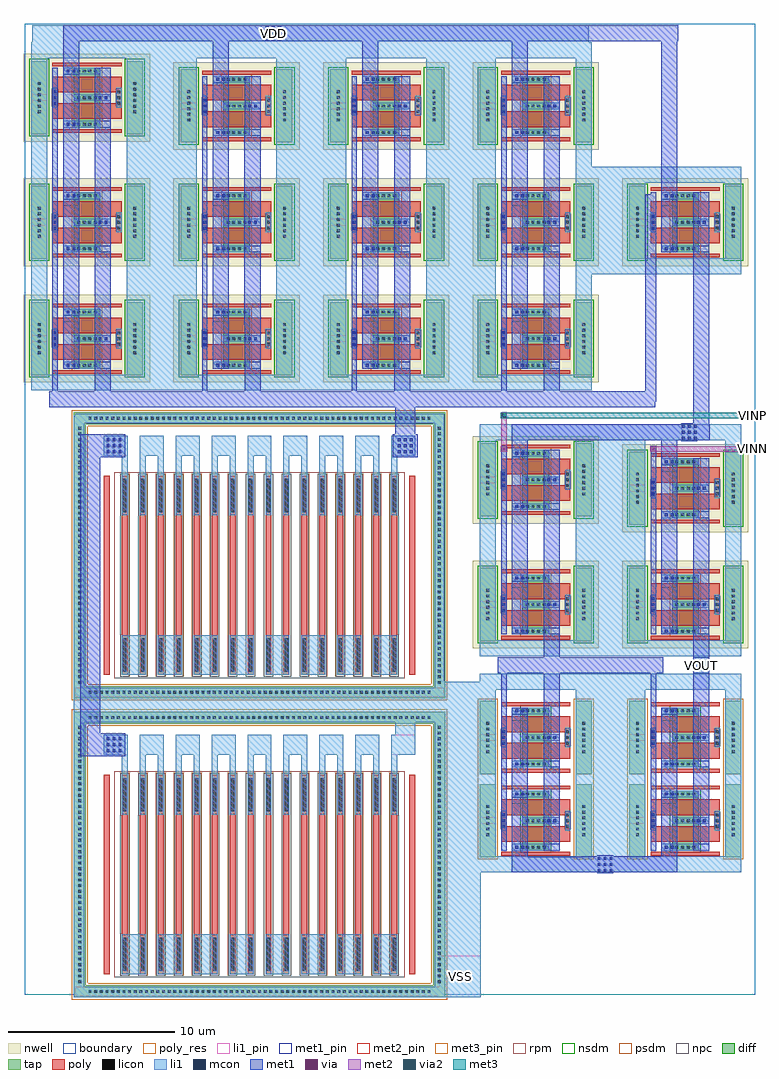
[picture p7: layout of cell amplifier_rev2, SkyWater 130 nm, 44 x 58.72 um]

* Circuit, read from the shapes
.subckt amplifier_rev2 VDD VINN VINP VOUT VSS
XM1 JNWATR_NCH_4C5F0_0/D JNWATR_NCH_4C5F0_0/D VSS VSS sky130_fd_pr__nfet_01v8 w=1.6 l=0.94 m=4
XM2 VOUT JNWATR_NCH_4C5F0_0/D VSS VSS sky130_fd_pr__nfet_01v8 w=1.6 l=0.94 m=4
XM3 JNWATR_PCH_4C5F0_10/D JNWATR_PCH_4C5F0_10/D VDD VDD sky130_fd_pr__pfet_01v8 w=1.6 l=0.94 m=24
XM4 JNWATR_NCH_4C5F0_0/D VINP JNWATR_PCH_4C5F0_13/B JNWATR_PCH_4C5F0_13/B sky130_fd_pr__pfet_01v8 w=1.6 l=0.94 m=4
XM5 VOUT VINN JNWATR_PCH_4C5F0_13/B JNWATR_PCH_4C5F0_13/B sky130_fd_pr__pfet_01v8 w=1.6 l=0.94 m=4
XM6 JNWATR_PCH_4C5F0_13/B JNWATR_PCH_4C5F0_10/D VDD VDD sky130_fd_pr__pfet_01v8 w=1.6 l=0.94 m=2
XR7 JNWTR_RPPO16_14/N n1 VSS sky130_fd_pr__res_high_po w=0.36 l=7.24
XR8 JNWTR_RPPO16_14/N n2 VSS sky130_fd_pr__res_high_po w=0.36 l=7.24
XR9 n3 n1 VSS sky130_fd_pr__res_high_po w=0.36 l=7.24
XR10 n4 n2 VSS sky130_fd_pr__res_high_po w=0.36 l=7.24
XR11 n3 n5 VSS sky130_fd_pr__res_high_po w=0.36 l=7.24
XR12 n4 n6 VSS sky130_fd_pr__res_high_po w=0.36 l=7.24
XR13 n7 n5 VSS sky130_fd_pr__res_high_po w=0.36 l=7.24
XR14 n8 n6 VSS sky130_fd_pr__res_high_po w=0.36 l=7.24
XR15 n7 n9 VSS sky130_fd_pr__res_high_po w=0.36 l=7.24
XR16 n8 n10 VSS sky130_fd_pr__res_high_po w=0.36 l=7.24
XR17 n11 n9 VSS sky130_fd_pr__res_high_po w=0.36 l=7.24
XR18 n12 n10 VSS sky130_fd_pr__res_high_po w=0.36 l=7.24
XR19 n11 n13 VSS sky130_fd_pr__res_high_po w=0.36 l=7.24
XR20 n12 n14 VSS sky130_fd_pr__res_high_po w=0.36 l=7.24
XR21 n15 n13 VSS sky130_fd_pr__res_high_po w=0.36 l=7.24
XR22 n16 n14 VSS sky130_fd_pr__res_high_po w=0.36 l=7.24
XR23 n15 n17 VSS sky130_fd_pr__res_high_po w=0.36 l=7.24
XR24 n16 n18 VSS sky130_fd_pr__res_high_po w=0.36 l=7.24
XR25 n19 n17 VSS sky130_fd_pr__res_high_po w=0.36 l=7.24
XR26 n20 n18 VSS sky130_fd_pr__res_high_po w=0.36 l=7.24
XR27 n19 n21 VSS sky130_fd_pr__res_high_po w=0.36 l=7.24
XR28 n20 n22 VSS sky130_fd_pr__res_high_po w=0.36 l=7.24
XR29 n23 n21 VSS sky130_fd_pr__res_high_po w=0.36 l=7.24
XR30 n24 n22 VSS sky130_fd_pr__res_high_po w=0.36 l=7.24
XR31 n23 n25 VSS sky130_fd_pr__res_high_po w=0.36 l=7.24
XR32 n24 n26 VSS sky130_fd_pr__res_high_po w=0.36 l=7.24
XR33 n27 n25 VSS sky130_fd_pr__res_high_po w=0.36 l=7.24
XR34 n28 n26 VSS sky130_fd_pr__res_high_po w=0.36 l=7.24
XR35 n27 n29 VSS sky130_fd_pr__res_high_po w=0.36 l=7.24
XR36 n28 n30 VSS sky130_fd_pr__res_high_po w=0.36 l=7.24
XR37 VSS n29 VSS sky130_fd_pr__res_high_po w=0.36 l=7.24
XR38 JNWATR_PCH_4C5F0_10/D n30 VSS sky130_fd_pr__res_high_po w=0.36 l=7.24
.ends

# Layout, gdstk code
from math import pi, radians
import gdstk
lib = gdstk.Library(unit=1e-6, precision=1e-09)
def R(c, l, rs):  # rectangles x0, y0, x1, y1
    for r in rs: c.add(gdstk.rectangle(r[:2], r[2:], *l))
def A(c, l, x, y, w, h, nx, ny, dx, dy):  # array of equal rectangles
    R(c, l, [(x+i*dx, y+j*dy, x+i*dx+w, y+j*dy+h) for i in range(nx) for j in range(ny)])
nwell = (64, 20)
diff = (65, 20)
tap = (65, 44)
poly_res = (66, 13)
poly = (66, 20)
licon = (66, 44)
li1_pin = (67, 16)
li1 = (67, 20)
mcon = (67, 44)
met1_pin = (68, 16)
met1 = (68, 20)
via = (68, 44)
met2_pin = (69, 16)
met2 = (69, 20)
via2 = (69, 44)
met3_pin = (70, 16)
met3 = (70, 20)
rpm = (86, 20)
nsdm = (93, 44)
psdm = (94, 20)
npc = (95, 20)
boundary = (235, 4)

jnwatr_nch_4c5f0 = lib.new_cell('JNWATR_NCH_4C5F0')
R(jnwatr_nch_4c5f0, diff, [(2.08,0.2,3.68,3.8)])
R(jnwatr_nch_4c5f0, tap, [(-0.48,-0.2,0.48,4.2), (5.28,-0.2,6.24,4.2)])
R(jnwatr_nch_4c5f0, poly, [(0.8,-0.11,4.96,0.11), (0.8,0.73,4.96,1.67), (0.8,1.67,1.12,2.33), (4.64,1.67,4.96,2.33), (0.8,2.33,4.96,3.27), (0.8,3.89,4.96,4.11)])
A(jnwatr_nch_4c5f0, licon, 2.285, 0.315, 0.17, 0.17, 4, 3, 0.34, 1.6)
A(jnwatr_nch_4c5f0, licon, -0.085, 1.065, 0.17, 0.17, 1, 6, 0, 0.34)
A(jnwatr_nch_4c5f0, licon, 5.675, 1.065, 0.17, 0.17, 1, 6, 0, 0.34)
A(jnwatr_nch_4c5f0, licon, 0.87, 1.575, 0.17, 0.17, 1, 3, 0, 0.34)
A(jnwatr_nch_4c5f0, licon, 4.71, 1.575, 0.17, 0.17, 1, 3, 0, 0.34)
R(jnwatr_nch_4c5f0, li1_pin, [(-0.48,1.8,0.48,2.2)])
R(jnwatr_nch_4c5f0, li1, [(-0.48,-0.2,0.48,4.2), (5.28,-0.2,6.24,4.2), (1.44,0.2,3.68,0.6), (0.8,1.4,1.12,2.6), (4.64,1.4,4.96,2.6), (2.08,1.8,4.32,2.2), (1.44,3.4,3.68,3.8)])
A(jnwatr_nch_4c5f0, mcon, 0.87, 1.555, 0.17, 0.17, 1, 3, 0, 0.36)
R(jnwatr_nch_4c5f0, mcon, [(1.655,0.315,1.825,0.485), (2.015,0.315,2.185,0.485), (3.575,1.915,3.745,2.085), (3.935,1.915,4.105,2.085), (1.655,3.515,1.825,3.685), (2.015,3.515,2.185,3.685)])
R(jnwatr_nch_4c5f0, met1_pin, [(3.36,0.2,4.32,0.6), (0.8,1.8,1.12,2.2), (1.44,3,2.4,3.4)])
R(jnwatr_nch_4c5f0, met1, [(0.8,0.2,1.12,3.8), (1.44,0.2,2.4,3.8), (3.36,0.2,4.32,3.8)])
R(jnwatr_nch_4c5f0, nsdm, [(1.955,0.075,3.805,3.925)])
R(jnwatr_nch_4c5f0, psdm, [(-0.605,-0.325,0.605,4.325), (5.155,-0.325,6.365,4.325)])
R(jnwatr_nch_4c5f0, npc, [(0.77,1.475,1.14,2.525), (4.61,1.475,4.98,2.525)])
R(jnwatr_nch_4c5f0, boundary, [(0,0,5.76,4)])
jnwatr_nch_4c5f0.add(gdstk.Label('B', (0,2), layer=67, texttype=5))
jnwatr_nch_4c5f0.add(gdstk.Label('G', (0.96,2), layer=68, texttype=5))
jnwatr_nch_4c5f0.add(gdstk.Label('S', (1.92,3.2), layer=68, texttype=5))
jnwatr_nch_4c5f0.add(gdstk.Label('D', (3.84,0.4), layer=68, texttype=5))

jnwatr_pch_4c5f0 = lib.new_cell('JNWATR_PCH_4C5F0')
R(jnwatr_pch_4c5f0, nwell, [(-0.92,-0.64,6.68,4.64)])
R(jnwatr_pch_4c5f0, diff, [(2.08,0.2,3.68,3.8)])
R(jnwatr_pch_4c5f0, tap, [(-0.48,-0.2,0.48,4.2), (5.28,-0.2,6.24,4.2)])
R(jnwatr_pch_4c5f0, poly, [(0.8,-0.11,4.96,0.11), (0.8,0.73,4.96,1.67), (0.8,1.67,1.12,2.33), (4.64,1.67,4.96,2.33), (0.8,2.33,4.96,3.27), (0.8,3.89,4.96,4.11)])
A(jnwatr_pch_4c5f0, licon, 2.285, 0.315, 0.17, 0.17, 4, 3, 0.34, 1.6)
A(jnwatr_pch_4c5f0, licon, -0.085, 1.065, 0.17, 0.17, 1, 6, 0, 0.34)
A(jnwatr_pch_4c5f0, licon, 5.675, 1.065, 0.17, 0.17, 1, 6, 0, 0.34)
A(jnwatr_pch_4c5f0, licon, 0.87, 1.575, 0.17, 0.17, 1, 3, 0, 0.34)
A(jnwatr_pch_4c5f0, licon, 4.71, 1.575, 0.17, 0.17, 1, 3, 0, 0.34)
R(jnwatr_pch_4c5f0, li1_pin, [(-0.48,1.8,0.48,2.2)])
R(jnwatr_pch_4c5f0, li1, [(-0.48,-0.2,0.48,4.2), (5.28,-0.2,6.24,4.2), (1.44,0.2,3.68,0.6), (0.8,1.4,1.12,2.6), (4.64,1.4,4.96,2.6), (2.08,1.8,4.32,2.2), (1.44,3.4,3.68,3.8)])
A(jnwatr_pch_4c5f0, mcon, 0.87, 1.555, 0.17, 0.17, 1, 3, 0, 0.36)
R(jnwatr_pch_4c5f0, mcon, [(1.655,0.315,1.825,0.485), (2.015,0.315,2.185,0.485), (3.575,1.915,3.745,2.085), (3.935,1.915,4.105,2.085), (1.655,3.515,1.825,3.685), (2.015,3.515,2.185,3.685)])
R(jnwatr_pch_4c5f0, met1_pin, [(3.36,0.2,4.32,0.6), (0.8,1.8,1.12,2.2), (1.44,3,2.4,3.4)])
R(jnwatr_pch_4c5f0, met1, [(0.8,0.2,1.12,3.8), (1.44,0.2,2.4,3.8), (3.36,0.2,4.32,3.8)])
R(jnwatr_pch_4c5f0, nsdm, [(-0.605,-0.325,0.605,4.325), (5.155,-0.325,6.365,4.325)])
R(jnwatr_pch_4c5f0, psdm, [(1.955,0.075,3.805,3.925)])
R(jnwatr_pch_4c5f0, npc, [(0.77,1.475,1.14,2.525), (4.61,1.475,4.98,2.525)])
R(jnwatr_pch_4c5f0, boundary, [(0,0,5.76,4)])
jnwatr_pch_4c5f0.add(gdstk.Label('B', (0,2), layer=67, texttype=5))
jnwatr_pch_4c5f0.add(gdstk.Label('G', (0.96,2), layer=68, texttype=5))
jnwatr_pch_4c5f0.add(gdstk.Label('S', (1.92,3.2), layer=68, texttype=5))
jnwatr_pch_4c5f0.add(gdstk.Label('D', (3.84,0.4), layer=68, texttype=5))

jnwtr_res16 = lib.new_cell('JNWTR_RES16')
A(jnwtr_res16, poly_res, 0.9, 1.72, 0.36, 7.36, 16, 1, 1.08, 0)
A(jnwtr_res16, poly, -0.18, -0.6, 0.36, 12, 18, 1, 1.08, 0)
A(jnwtr_res16, licon, 0.985, -0.4, 0.19, 2, 16, 2, 1.08, 9.6)
R(jnwtr_res16, li1_pin, [(-0.18,12.6,1.26,13.8), (17.1,12.6,18.54,13.8)])
A(jnwtr_res16, li1, 0.9, -0.6, 1.44, 2.4, 8, 1, 2.16, 0)
A(jnwtr_res16, li1, 0.9, 9, 0.36, 3.6, 16, 1, 1.08, 0)
A(jnwtr_res16, li1, -0.18, 12.6, 1.44, 1.2, 9, 1, 2.16, 0)
R(jnwtr_res16, rpm, [(0.445,-0.8,17.915,11.6)])
A(jnwtr_res16, psdm, 0.79, -0.71, 0.58, 12.22, 16, 1, 1.08, 0)
A(jnwtr_res16, npc, 0.805, -0.695, 0.55, 12.19, 16, 1, 1.08, 0)
R(jnwtr_res16, boundary, [(0,0,18.36,13.2)])
jnwtr_res16.add(gdstk.Label('P', (17.82,13.2), layer=67, texttype=5))
jnwtr_res16.add(gdstk.Label('N', (0.54,13.2), layer=67, texttype=5))

jnwtr_rppo16 = lib.new_cell('JNWTR_RPPO16')
R(jnwtr_rppo16, tap, [(0,0,22.36,0.72), (0,0.72,0.72,16.48), (21.64,0.72,22.36,16.48), (0,16.48,22.36,17.2)])
A(jnwtr_rppo16, licon, 0.895, 0.275, 0.17, 0.17, 61, 2, 0.34, 16.48)
A(jnwtr_rppo16, licon, 0.275, 0.865, 0.17, 0.17, 1, 46, 0, 0.34)
A(jnwtr_rppo16, licon, 21.915, 0.865, 0.17, 0.17, 1, 46, 0, 0.34)
R(jnwtr_rppo16, li1_pin, [(0.08,0.08,22.28,0.64), (1.82,14.6,3.26,15.8), (19.1,14.6,20.54,15.8)])
R(jnwtr_rppo16, li1, [(0.08,0.08,22.28,0.64), (0.08,0.64,0.64,16.56), (21.72,0.64,22.28,16.56), (1.82,14.6,3.26,15.8), (19.1,14.6,20.54,15.8), (0.08,16.56,22.28,17.12)])
R(jnwtr_rppo16, psdm, [(-0.125,-0.125,22.485,0.845), (-0.125,0.845,0.845,16.355), (21.515,0.845,22.485,16.355), (-0.125,16.355,22.485,17.325)])
R(jnwtr_rppo16, boundary, [(0,0,22.36,17.2)])
jnwtr_rppo16.add(gdstk.Reference(jnwtr_res16, (2,2)))
jnwtr_rppo16.add(gdstk.Label('B', (11.18,0.36), layer=67, texttype=5))
jnwtr_rppo16.add(gdstk.Label('N', (2.54,15.2), layer=67, texttype=5))
jnwtr_rppo16.add(gdstk.Label('P', (19.82,15.2), layer=67, texttype=5))

amplifier_rev2 = lib.new_cell('amplifier_rev2')
R(amplifier_rev2, li1_pin, [(17,-17,19.5,-14.5)])
A(amplifier_rev2, li1, -1, 20.48, 3, 3.04, 3, 1, 9, 0)
A(amplifier_rev2, li1, -1.8, 23.52, 4.2, 11.96, 3, 1, 9, 0)
A(amplifier_rev2, li1, -1, 35.48, 3, 2.16, 3, 1, 9, 0)
A(amplifier_rev2, li1, -1.8, 37.64, 4.2, 1.88, 3, 1, 9, 0)
R(amplifier_rev2, li1, [(-5,-17,19.5,-16.5), (-5,-16.5,-4.5,0), (17,-16.5,19.5,-9.48), (17,-9.48,35.16,-8.52), (17,-8.52,20.4,-7.52), (26,-8.52,29,-5.48), (34.2,-8.52,35.16,-7.52), (17,-7.52,20,-5.48), (17,-5.48,20.4,-2.52), (25.2,-5.48,29.4,-2.52), (34.2,-5.48,35.16,-2.52), (17,-2.52,20,-0.36), (26,-2.52,29,-0.36), (-3.18,-2.4,-1.98,-1.2), (14.34,-2.4,15.54,-0.4), (17,-0.36,20.4,0), (25.2,-0.36,29.4,1.52), (34.2,-0.36,35.16,1.52), (-5,0,20.4,1.5), (-5,1.5,-4.5,18), (17,1.5,20.4,1.52), (17,1.52,35.16,2), (19.44,2,35.16,2.48), (19.44,3.52,35.16,4.48), (19.44,4.48,20.4,5.48), (26,4.48,29,7.52), (34.2,4.48,35.16,5.48), (19.44,7.52,20.4,12.48), (25.2,7.52,29,7.64), (25.2,7.64,29.4,12.48), (34.2,7.64,35.16,12.48), (26,12.48,29,14.64), (19.44,14.64,20.4,16.52), (25.2,14.64,29.4,16.52), (34.2,14.64,35.16,16.52), (-3.18,15.6,-1.98,16.8), (14.34,15.6,15.54,16.8), (19.44,16.52,35.16,17.48), (-7.56,19.52,26.16,20.48), (-7.56,20.48,-6.6,21.48), (25.2,20.48,26.16,21.48), (-7.56,23.52,-6.6,35.48), (25.2,23.52,26.16,26.52), (25.2,26.52,35.16,27.48), (25.2,27.48,29,30.64), (34.2,27.48,35.16,28.48), (25.2,30.64,29.4,32.02), (34.2,30.64,35.16,32.02), (25.2,32.02,35.16,32.98), (25.2,32.98,26.16,35.48), (-7.56,37.64,-6.6,39.52), (25.2,37.64,26.16,39.52), (-7.56,39.52,26.16,40.48), (-7.5,40.48,26,41.5)])
A(amplifier_rev2, mcon, 26.525, -9.445, 0.17, 0.17, 3, 3, 0.36, 0.36)
A(amplifier_rev2, mcon, -3.025, -2.245, 0.17, 0.17, 3, 3, 0.36, 0.36)
A(amplifier_rev2, mcon, -3.025, 15.755, 0.17, 0.17, 3, 3, 0.36, 0.36)
A(amplifier_rev2, mcon, 14.495, 15.755, 0.17, 0.17, 3, 3, 0.36, 0.36)
A(amplifier_rev2, mcon, 31.585, 16.555, 0.17, 0.17, 3, 3, 0.36, 0.36)
A(amplifier_rev2, mcon, 6.555, 40.555, 0.17, 0.17, 3, 3, 0.36, 0.36)
R(amplifier_rev2, met1_pin, [(32.28,2.5,33.24,3.46), (6.52,40.52,7.48,41.48)])
A(amplifier_rev2, met1, 2.72, 19.48, 0.32, 18.68, 3, 1, 9, 0)
A(amplifier_rev2, met1, -5.64, 22.52, 0.96, 13.96, 4, 1, 9, 0)
A(amplifier_rev2, met1, -5.64, 36.52, 0.96, 4, 4, 1, 9, 0)
R(amplifier_rev2, met1, [(26.49,-9.54,27.45,-9.48), (21.36,-9.48,22.32,-9.47), (25.58,-9.48,31.32,-9.47), (21.36,-9.47,31.32,-8.53), (21.36,-8.53,22.32,-6.52), (25.58,-8.53,31.32,-8.52), (26.49,-8.52,27.45,-8.46), (30.36,-8.52,31.32,-6.52), (21.36,-6.48,22.32,-1.52), (30.36,-5.88,31.32,-1.52), (32.28,-5.52,33.24,-2.52), (23.28,-5.48,24.24,-1.52), (20.72,-5.16,21.04,-2.84), (29.72,-5.16,30.04,-2.84), (-4.6,-2.5,-1.9,-1.1), (23.28,-1.48,24.24,2.52), (-4.6,-1.1,-3.4,15.5), (32.28,-0.48,33.24,6.48), (20.72,-0.16,21.04,2.52), (29.72,-0.16,30.04,2.52), (20.52,2.52,30.48,3.48), (23.28,3.48,24.24,6.48), (21.36,6.52,22.32,13.48), (30.36,6.52,31.32,13.48), (32.28,6.52,33.24,13.48), (29.72,6.84,30.04,16.19), (23.28,7.48,24.24,12.48), (20.72,7.84,21.04,16.19), (21.36,13.52,22.32,16.52), (30.36,13.52,31.32,16.52), (-4.6,15.5,-1.9,16.9), (14.2,15.5,15.7,16.9), (31.55,16.46,32.51,16.52), (21.36,16.52,33.28,17.48), (14.34,16.9,15.54,18.52), (31.55,17.48,33.24,17.54), (32.28,17.54,33.24,29.48), (-6.48,18.52,29.98,18.84), (-6.48,18.84,30.04,19.48), (-6.28,19.48,-5.96,21.16), (-3.72,19.48,-2.76,21.8), (5.28,19.48,6.24,22.48), (14.28,19.48,15.24,22.48), (23.28,19.48,24.24,21.8), (29.4,19.48,30.04,31.32), (14.28,22.8,15.24,35.48), (5.27,23.47,6.25,35.49), (-3.72,23.48,-2.76,35.48), (23.28,23.48,24.24,35.48), (-6.28,23.84,-5.96,36.16), (30.36,29.52,31.32,40.52), (-5.64,40.52,31.36,41.48)])
R(amplifier_rev2, via, [(20.805,15.925,20.955,16.075), (29.805,15.925,29.955,16.075)])
R(amplifier_rev2, met2_pin, [(35.68,15.84,36,16.16)])
R(amplifier_rev2, met2, [(20.69,15.84,21.07,16.16), (29.69,15.84,36,16.16), (20.72,16.16,21.04,18.205)])
R(amplifier_rev2, via2, [(20.78,17.92,20.98,18.12)])
R(amplifier_rev2, met3_pin, [(35.67,17.86,35.99,18.18)])
R(amplifier_rev2, met3, [(20.695,17.855,21.065,17.86), (20.695,17.86,35.99,18.18), (20.695,18.18,21.065,18.185)])
R(amplifier_rev2, psdm, [(19.315,-4.035,20.525,-3.685), (25.075,-4.035,26.285,-3.685), (28.315,-4.035,29.525,-3.685), (34.075,-4.035,35.285,-3.685)])
R(amplifier_rev2, boundary, [(-7.95,-16.85,36,41.6)])
amplifier_rev2.add(gdstk.Reference(jnwatr_nch_4c5f0, (19.92,-8.36)))
amplifier_rev2.add(gdstk.Reference(jnwatr_nch_4c5f0, (28.92,-8.36)))
amplifier_rev2.add(gdstk.Reference(jnwatr_pch_4c5f0, (10.92,20.64)))
amplifier_rev2.add(gdstk.Reference(jnwatr_nch_4c5f0, (28.92,-3.36)))
amplifier_rev2.add(gdstk.Reference(jnwatr_nch_4c5f0, (19.92,-3.36)))
amplifier_rev2.add(gdstk.Reference(jnwatr_pch_4c5f0, (1.92,34.64)))
amplifier_rev2.add(gdstk.Reference(jnwatr_pch_4c5f0, (19.92,27.64)))
amplifier_rev2.add(gdstk.Reference(jnwatr_pch_4c5f0, (10.92,27.64)))
amplifier_rev2.add(gdstk.Reference(jnwtr_rppo16, (17.36,-17), rotation=pi, x_reflection=True))
amplifier_rev2.add(gdstk.Reference(jnwatr_pch_4c5f0, (28.92,4.64)))
amplifier_rev2.add(gdstk.Reference(jnwatr_pch_4c5f0, (-7.08,20.64)))
amplifier_rev2.add(gdstk.Reference(jnwatr_pch_4c5f0, (28.92,27.64)))
amplifier_rev2.add(gdstk.Reference(jnwatr_pch_4c5f0, (-7.08,27.64)))
amplifier_rev2.add(gdstk.Reference(jnwatr_pch_4c5f0, (28.92,11.64)))
amplifier_rev2.add(gdstk.Reference(jnwtr_rppo16, (-5,1)))
amplifier_rev2.add(gdstk.Reference(jnwatr_pch_4c5f0, (19.92,12.14)))
amplifier_rev2.add(gdstk.Reference(jnwatr_pch_4c5f0, (-7.08,35.14)))
amplifier_rev2.add(gdstk.Reference(jnwatr_pch_4c5f0, (1.92,20.64)))
amplifier_rev2.add(gdstk.Reference(jnwatr_pch_4c5f0, (19.92,4.64)))
amplifier_rev2.add(gdstk.Reference(jnwatr_pch_4c5f0, (1.92,27.64)))
amplifier_rev2.add(gdstk.Reference(jnwatr_pch_4c5f0, (19.92,34.64)))
amplifier_rev2.add(gdstk.Reference(jnwatr_pch_4c5f0, (10.92,34.64)))
amplifier_rev2.add(gdstk.Reference(jnwatr_pch_4c5f0, (19.92,20.64)))
amplifier_rev2.add(gdstk.Label('VSS', (18.25,-15.75), layer=67, texttype=5))
amplifier_rev2.add(gdstk.Label('VINP', (35.83,18.02), layer=70, texttype=5))
amplifier_rev2.add(gdstk.Label('VOUT', (32.76,2.98), layer=68, texttype=5))
amplifier_rev2.add(gdstk.Label('VDD', (7,41), layer=68, texttype=5))
amplifier_rev2.add(gdstk.Label('VINN', (35.84,16), layer=69, texttype=5))

lib.write_gds('amplifier_rev2.gds')
